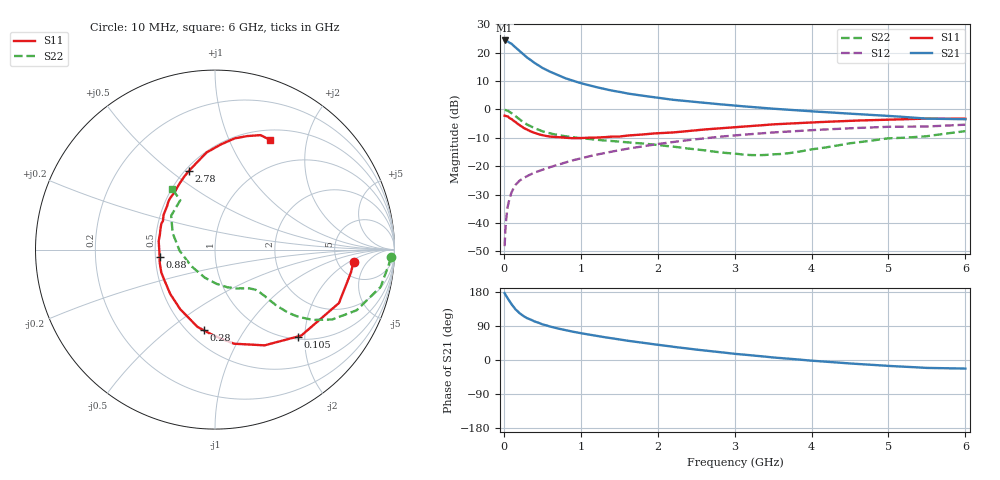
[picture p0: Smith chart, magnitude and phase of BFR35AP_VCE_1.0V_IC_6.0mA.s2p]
! Infineon Technologies  Discrete & RF Semiconductors
! BFR35AP
! VCE =  1.0 V,  IC =  6.0 mA
! Common Emitter S-Parameters:  Nov 2015
# GHz  S  MA  R  50
!  f  S11  S21  S12  S22
! GHz  MAG  ANG  MAG  ANG  MAG  ANG  MAG  ANG
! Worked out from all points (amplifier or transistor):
!   210 points, 10 MHz to 6 GHz, reference 50 ohm
!   highest |S21| = 24.2 dB at 10 MHz (marker M1)
!   |S21| within 3 dB of that: start of sweep to 174.8 MHz
!   unconditionally stable (mu >= 1): 644.2 MHz to end of sweep
!   at 185 MHz: K = 0.44, MSG = 23.3 dB, |S12| = -25.6 dB
!   at 1.52 GHz: K = 1.17, MAG = 7.7 dB, |S12| = -14.3 dB
!   at 6 GHz: K = 1.03, MAG = -0.2 dB, |S12| = -5.4 dB
!   S11 on the Smith chart (normalised r, x): 10 MHz: 7.07, -2.39; 105 MHz: 1.05, -1.84; 280 MHz: 0.60, -0.68; 880 MHz: 0.53, -0.05; 2.78 GHz: 0.52, +0.58; 6 GHz: 0.62, +1.43
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0.01  0.775 -5.0  16.31 176.4  0.0039 87.7  0.9815 -2.5
0.02  0.768 -9.6  16.14 172.6  0.0075 84.6  0.9709 -5.2
0.05  0.7522 -23.3  15.68 162.4  0.0193 76.8  0.946 -12.7
0.1  0.6787 -44.9  14.27 146.9  0.0345 68.9  0.8583 -23.2
0.105  0.6683 -46.5  14.05 145.8  0.0357 67.9  0.8479 -23.9
0.15  0.6009 -62.6  12.37 133.9  0.0465 61.3  0.7605 -30.8
0.2  0.5349 -78.6  10.78 124.3  0.0548 57.6  0.6733 -35.6
0.24  0.4871 -88.5  9.638 118.2  0.0598 55.1  0.6131 -38.1
0.28  0.4538 -97.9  8.66 113.1  0.0643 54.2  0.5642 -39.9
0.3  0.4416 -102.7  8.204 110.5  0.0665 54.0  0.5416 -40.7
0.4  0.3848 -120.2  6.55 101.7  0.077 52.9  0.465 -42.3
0.5  0.3514 -135.1  5.378 94.2  0.0862 53.5  0.4116 -42.8
0.7  0.3249 -157.2  4.003 83.2  0.1055 54.8  0.3527 -43.4
0.88  0.3112 -172.4  3.243 75.5  0.1248 55.1  0.3246 -44.4
1.02  0.3126 176.1  2.844 70.1  0.1389 55.2  0.3088 -45.7
1.4  0.3318 154.4  2.144 57.3  0.1797 53.9  0.2774 -51.3
2.02  0.3806 130.8  1.582 39.7  0.2469 48.7  0.2333 -65.9
2.78  0.4601 108.7  1.236 21.4  0.3267 39.8  0.1768 -96.8
3.1  0.4934 102.1  1.134 14.6  0.3561 35.4  0.1605 -116.5
4.1  0.5955 85.2  0.905 -3.2  0.4372 22.1  0.2054 176.2
5.1  0.6629 72.9  0.751 -16.6  0.4931 8.5  0.3119 138.6
6  0.6837 63.5  0.669 -22.6  0.5367 -1.0  0.4131 125.3
